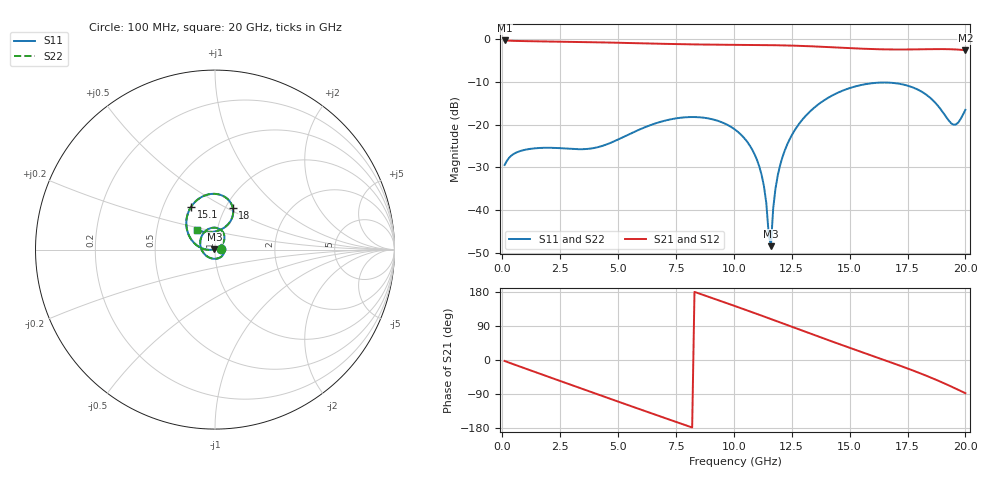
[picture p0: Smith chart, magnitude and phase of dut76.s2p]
! Touchstone file exported from HFSS 2026.1.0
!  File:  C:/ffzhzh/LocalFiles/Ansys_Project_Files/temp_train_TSV_RDL_76_1782970771_45568.aedt
!  Generated:  02:02:07 PM Jul  2, 2026
!  Design:  TSV_RDL
!  Project:  temp_train_TSV_RDL_76_1782970771_45568
! Variables:
!  h_bsmrdl = 5.65um
!  h_ox = 20um
!  h_rdl = 5um
!  h_sub = 58.48um
!  h_tmrdl = 2.74um
!  h_tsv = 58.48um
!  h_via = 3um
!  l_bsmrdl = 963.7um
!  l_sub = 7041.42um
!  l_tmrdl = 900.56um
!  m_sub = 200um
!  pitch = 29.64um
!  r_tsv = 3.5um
!  s_tmrdl = 10um
!  w_bsmrdl = 27.61um
!  w_sub = 500um
!  w_tmrdl = 21.75um
!  x_tsv_center1 = 911.435um
!  x_tsv_center2 = 1902.745um
!  x_tsv_center3 = 2825.055um
!  x_tsv_center4 = 3816.365um
!  x_tsv_center5 = 4738.675um
!  x_tsv_center6 = 5729.985um
# GHz S MA R 50.000000
! Terminal data exported
! Port[1] = TM_RDL1_1_T1
! Port[2] = TM_RDL5_1_T1
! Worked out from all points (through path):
!   200 points, 100 MHz to 20 GHz, reference 50 ohm
!   highest |S21| = -0.29 dB at 100 MHz (marker M1); lowest = -2.6 dB at 20 GHz (marker M2)
!   group delay of S21, straight-line fit = 60.9 ps
!   lowest |S11| = -48.5 dB at 11.6 GHz (marker M3), VSWR 1.01, Z = 49.7 + j0.188 ohm
!   |S11| at or under -10 dB: start of sweep to end of sweep
!   |S22| runs from -49.6 to -10.1 dB; largest |S21 - S12| = 1.6e-14
!   S11 on the Smith chart (normalised r, x): 100 MHz: 1.07, +0.01; 15.1 GHz: 0.69, +0.35; 18 GHz: 1.08, +0.54; 20 GHz: 0.80, +0.18
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0.1  0.03362 7.9  0.9669 -2.5  0.9669 -2.5  0.03362 7.9
! Gamma 0 0 0 0
! Port Impedance 50 0 50 0
0.6  0.04691 3.0  0.9545 -13.8  0.9545 -13.8  0.0469 3.0
1.7  0.05331 -24.2  0.9434 -37.9  0.9434 -37.9  0.05327 -24.2
3.5  0.05148 -91.4  0.9265 -77.2  0.9265 -77.2  0.05133 -91.4
5  0.06679 -164.1  0.9089 -109.7  0.9089 -109.7  0.06662 -164.3
6.8  0.107 132.6  0.885 -148.4  0.885 -148.4  0.1069 132.4
8.4  0.1222 90.9  0.868 177.6  0.868 177.6  0.1222 90.6
10.1  0.08528 51.8  0.8591 141.2  0.8591 141.2  0.0853 51.4
11.1  0.03218 32.2  0.8551 119.3  0.8551 119.3  0.0322 31.1
11.4  0.01215 33.5  0.8533 112.6  0.8533 112.6  0.01209 30.6
11.5  0.005442 48.3  0.8525 110.4  0.8525 110.4  0.005224 42.2
11.6  0.003759 149.7  0.8518 108.2  0.8518 108.2  0.003297 156.1
11.7  0.01043 178.7  0.8509 105.9  0.8509 105.9  0.01023 -178.2
11.8  0.01792 -177.2  0.8501 103.7  0.8501 103.7  0.01777 -175.3
12.1  0.04157 -179.0  0.8469 97.0  0.8469 97.0  0.04147 -178.2
12.6  0.08327 171.7  0.8401 85.7  0.8401 85.7  0.08318 172.1
13.4  0.1517 154.8  0.8249 67.6  0.8249 67.6  0.1516 155.0
15.1  0.2726 119.4  0.7837 30.1  0.7837 30.1  0.2725 119.4
16.7  0.3099 88.5  0.7588 -4.5  0.7588 -4.5  0.3098 88.5
18  0.2524 66.8  0.7609 -33.9  0.7609 -33.9  0.2524 66.9
19.5  0.0993 94.8  0.7605 -73.1  0.7605 -73.1  0.09933 94.8
20  0.1487 132.8  0.7431 -87.7  0.7431 -87.7  0.1487 132.8
